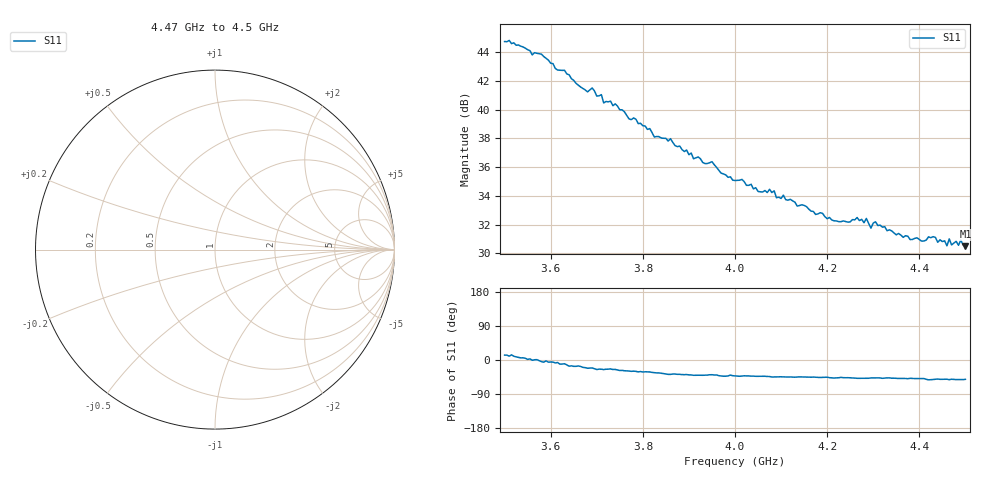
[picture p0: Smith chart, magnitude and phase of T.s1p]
#  HZ  S  DB  R  50.0
! Rohde & Schwarz ZVL6 2Ports - Version 3.31 - 1303.6509k06 SN: 101464
! Date: 2017-04-20 20:42:42
! Data & Calibration Information:
! Trc2:Z<-S11(Full One Port)
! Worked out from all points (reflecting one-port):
!   201 points, 3.5 GHz to 4.5 GHz, reference 50 ohm
!   lowest |S11| = 30.5 dB at 4.5 GHz (marker M1)
!   phase of S11 starts at 13 deg and turns -64 deg over the sweep
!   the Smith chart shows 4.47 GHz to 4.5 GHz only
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3.5e9  44.75 12.9
3.51e9  44.83 10.0
3.515e9  44.61 13.7
3.52e9  44.67 9.9
3.535e9  44.43 5.5
3.55e9  44.19 1.7
3.555e9  44.12 3.0
3.56e9  43.82 -0.6
3.57e9  43.94 1.0
3.585e9  43.71 -5.7
3.59e9  43.58 -2.2
3.595e9  43.46 -5.8
3.615e9  42.77 -6.7
3.62e9  42.76 -10.9
3.625e9  42.74 -10.6
3.63e9  42.75 -9.9
3.64e9  42.44 -16.3
3.66e9  41.71 -15.7
3.68e9  41.25 -21.8
3.69e9  41.52 -20.9
3.7e9  40.95 -25.1
3.75e9  40.00 -27.8
3.875e9  37.43 -37.8
4e9  35.07 -41.9
4.125e9  33.65 -45.0
4.25e9  32.19 -47.0
4.375e9  31.19 -49.3
4.5e9  30.50 -51.0
